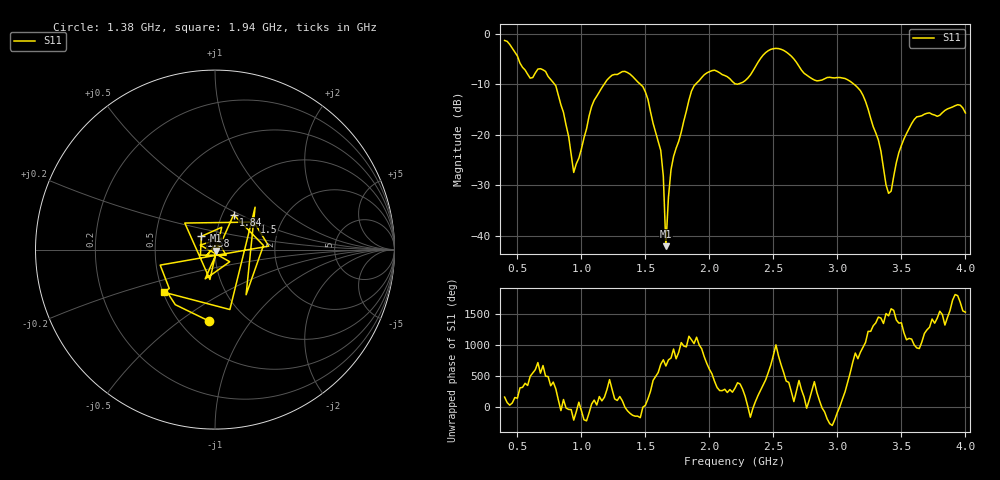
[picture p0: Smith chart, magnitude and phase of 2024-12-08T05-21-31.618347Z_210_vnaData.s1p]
!Created with skrf (http://scikit-rf.org).
# Hz S RI R 50.0
!freq ReS11 ImS11
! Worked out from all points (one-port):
!   181 points, 400 MHz to 4 GHz, reference 50 ohm
!   lowest |S11| = -42.1 dB at 1.66 GHz (marker M1), VSWR 1.02, Z = 50.4 - j0.656 ohm
!   |S11| at or under -10 dB: 791.3 MHz to 1.178 GHz (386.3 MHz wide, 39.2 % of centre); 1.461 GHz to 1.891 GHz (429.9 MHz wide, 25.6 % of centre); 3.13 GHz to end of sweep
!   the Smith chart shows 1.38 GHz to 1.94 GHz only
!   S11 on the Smith chart (normalised r, x): 1.38 GHz: 0.68, -0.65; 1.5 GHz: 1.46, +0.48; 1.58 GHz: 0.85, +0.13; 1.84 GHz: 1.13, +0.46; 1.94 GHz: 0.51, -0.28
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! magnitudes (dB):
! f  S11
! 400 MHz  -1.3
! 600 MHz  -8.8
! 720 MHz  -7.4
! 860 MHz  -15.6
! 940 MHz  -27.5
! 1.1 GHz  -13.1
! 1.3 GHz  -7.8
! 1.38 GHz  -8.0
! 1.5 GHz  -11.5
! 1.58 GHz  -19.5
! 1.62 GHz  -23.1
! 1.64 GHz  -28.2
! 1.66 GHz  -42.1
! 1.68 GHz  -32.4
! 1.7 GHz  -26.9
! 1.76 GHz  -21.3
! 1.84 GHz  -13.1
! 1.94 GHz  -8.6
! 2.2 GHz  -9.9
! 2.48 GHz  -3.1
! 2.66 GHz  -5.0
! 2.82 GHz  -9.1
! 3.1 GHz  -9.4
! 3.22 GHz  -13.4
! 3.32 GHz  -21.0
! 3.4 GHz  -31.6
! 3.56 GHz  -18.8
! 4 GHz  -15.7
